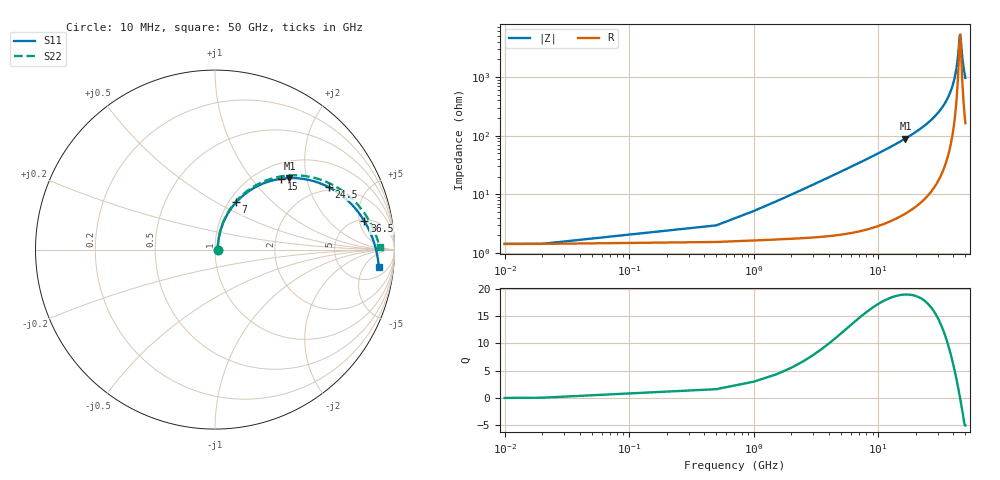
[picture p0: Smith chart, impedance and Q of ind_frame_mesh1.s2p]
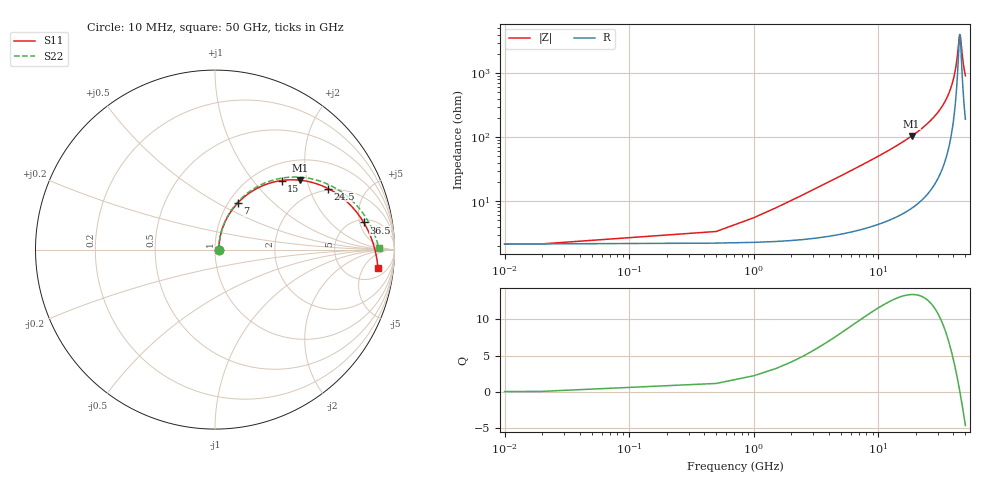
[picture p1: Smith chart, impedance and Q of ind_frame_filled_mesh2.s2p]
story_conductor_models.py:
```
#!/usr/bin/env python
"""Plot and numbers for README.md section "Conductor model": surface impedance (the mesh study above) vs. conductors meshed as
volumes: settings['conductor_model'] = 'solve_inside' and 'solve_inside_skin'.

Writes results/plots/story_conductor_models.png (R and Q vs. frequency) and prints the numbers quoted in README.md.
Reference for all errors: 'solve_inside_skin', 1 um mesh. DOF from the Palace output of each run.
"""
import os
import numpy as np
import matplotlib
matplotlib.use("Agg")
import matplotlib.pyplot as plt

import story_plots as S

RUNS = [  # label, Touchstone file, DOF, color, line style
    ("surface impedance, 1 µm", "ind_frame_mesh1.s2p", 895030, S.BLUE, "-"),
    ("solve_inside, 2 µm", "ind_frame_filled_mesh2.s2p", 519120, S.ORANGE, "--"),
    ("solve_inside_skin, 5 µm", "ind_frame_skin_mesh5.s2p", 400752, S.AQUA, ":"),
    ("solve_inside_skin, 2 µm", "ind_frame_skin_mesh2.s2p", 1066672, S.AQUA, "--"),
    ("solve_inside_skin, 1 µm", "ind_frame_skin_mesh1.s2p", 2418008, S.INK, "-"),
]
TABLE = RUNS + [("solve_inside_skin, 3 µm", "ind_frame_skin_mesh3.s2p", 702498, None, None),
                ("surface impedance, 2 µm", "ind_frame_mesh2.s2p", 442812, None, None),
                ("surface impedance, 5 µm", "ind_frame_mesh5.s2p", 173650, None, None)]
REFERENCE = "ind_frame_skin_mesh1.s2p"


def plot():
    fig, axes = plt.subplots(1, 2, figsize=(10, 3.9), sharex=True)
    for label, fname, _, color, ls in RUNS:
        ntw = S.load(fname)
        m = S.lqr(ntw)
        for ax, key in zip(axes, ("R", "Q")):
            ax.plot(ntw.f / 1e9, m[key], color=color, linestyle=ls, linewidth=2, label=label)
    for ax, title in zip(axes, ("Differential resistance R (Ω)", "Differential Q factor")):
        S.style(ax)
        ax.set_title(title, loc="left", fontsize=11, color=S.INK)
        ax.set_xlabel("Frequency (GHz)", color=S.INK2)
    axes[0].set_ylim(0, 12)
    axes[0].set_xlim(0, 40)
    handles, labels = axes[1].get_legend_handles_labels()
    fig.legend(handles, labels, loc="upper center", ncol=3, frameon=False, fontsize=9)
    fig.tight_layout(rect=(0, 0, 1, 0.84))
    out = os.path.join(S.PLOT_DIR, "story_conductor_models.png")
    fig.savefig(out, dpi=130, facecolor="white")
    plt.close(fig)
    print("wrote", out)


def numbers():
    ref = S.load(REFERENCE)
    r = S.lqr(ref)
    print(f"\n{'model':30s} {'DOF':>10s} {'R@1GHz':>7s} {'dR':>7s} {'L@10GHz':>8s} {'dL':>7s} {'Qpeak':>6s} {'@GHz':>5s} {'dQ':>7s}")
    for label, fname, dof, _, _ in TABLE:
        ntw = S.load(fname)
        m = S.lqr(ntw)
        r1, l10 = S.at(ntw, m["R"], 1e9), S.at(ntw, m["L"], 10e9)
        print(f"{label:30s} {dof:10,d} {r1:7.3f} {100 * (r1 / S.at(ref, r['R'], 1e9) - 1):+6.1f}% "
              f"{l10:8.4f} {100 * (l10 / S.at(ref, r['L'], 10e9) - 1):+6.2f}% "
              f"{m['Q'].max():6.2f} {ntw.f[m['Q'].argmax()] / 1e9:5.1f} {100 * (m['Q'].max() / r['Q'].max() - 1):+6.1f}%")


if __name__ == "__main__":
    plot()
    numbers()
```
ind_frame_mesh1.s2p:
! Created with skrf 2.2.0 (http://scikit-rf.org).
# GHz S DB R 50.0
! Port[1] = P1
! Port[2] = P2
!freq dBS11 angS11 dBS21 angS21 dBS12 angS12 dBS22 angS22
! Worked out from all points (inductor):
!   102 points, 10 MHz to 50 GHz, reference 50 ohm
!   read as 1/Y11, port 2 shorted: L = 779 pH near 1 GHz
!   highest Q = 19 at 16.5 GHz (marker M1), where L = 861 pH
!   self-resonance near 45 GHz
!   S11 on the Smith chart (normalised r, x): 10 MHz: 1.03, +0.00; 7 GHz: 1.08, +0.62; 15 GHz: 1.28, +1.42; 24.5 GHz: 1.87, +2.72; 36.5 GHz: 5.33, +5.97; 50 GHz: 9, -11
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0.01  -36.98 2.0  -0.12 -0.0  -0.12 -0.0  -36.98 2.0
1  -26.64 67.2  -0.15 -3.1  -0.15 -3.1  -26.63 67.3
2  -21.13 73.4  -0.19 -6.0  -0.19 -6.0  -21.13 73.6
4  -15.34 72.5  -0.31 -11.7  -0.31 -11.7  -15.35 72.9
7  -10.78 65.9  -0.59 -20.0  -0.59 -20.0  -10.79 66.7
15  -5.37 47.1  -1.80 -39.5  -1.80 -39.5  -5.38 48.8
16.5  -4.81 43.9  -2.08 -42.7  -2.08 -42.7  -4.82 45.8
24.5  -2.82 28.8  -3.65 -57.6  -3.65 -57.6  -2.83 31.8
25.5  -2.65 27.1  -3.85 -59.2  -3.85 -59.2  -2.67 30.2
36.5  -1.44 10.7  -6.14 -75.1  -6.14 -75.1  -1.45 15.4
50  -0.74 -6.1  -9.06 -91.0  -9.06 -91.0  -0.75 0.8
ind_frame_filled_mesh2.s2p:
! Created with skrf 2.2.0 (http://scikit-rf.org).
# GHz S DB R 50.0
! Port[1] = P1
! Port[2] = P2
!freq dBS11 angS11 dBS21 angS21 dBS12 angS12 dBS22 angS22
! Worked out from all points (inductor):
!   102 points, 10 MHz to 50 GHz, reference 50 ohm
!   read as 1/Y11, port 2 shorted: L = 791 pH near 1.5 GHz
!   highest Q = 13.5 at 18.5 GHz (marker M1), where L = 893 pH
!   self-resonance near 45 GHz
!   S11 on the Smith chart (normalised r, x): 10 MHz: 1.04, +0.00; 7 GHz: 1.11, +0.63; 15 GHz: 1.31, +1.41; 24.5 GHz: 1.94, +2.70; 36.5 GHz: 5.55, +5.78; 50 GHz: 9, -11
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0.01  -33.56 1.2  -0.18 -0.0  -0.18 -0.0  -33.56 1.3
1.5  -23.15 66.9  -0.23 -4.6  -0.23 -4.6  -23.15 67.1
2.5  -19.05 70.5  -0.28 -7.6  -0.28 -7.6  -19.06 70.8
4.5  -14.26 69.0  -0.43 -13.3  -0.43 -13.3  -14.26 69.5
7  -10.77 63.9  -0.69 -20.1  -0.69 -20.1  -10.78 64.7
15  -5.45 46.1  -1.89 -39.2  -1.89 -39.2  -5.46 47.9
18.5  -4.25 39.0  -2.54 -46.3  -2.54 -46.3  -4.26 41.3
24.5  -2.89 28.3  -3.72 -57.1  -3.72 -57.1  -2.91 31.3
25.5  -2.73 26.6  -3.92 -58.8  -3.92 -58.8  -2.74 29.8
36.5  -1.49 10.4  -6.19 -74.7  -6.19 -74.7  -1.50 15.1
50  -0.79 -6.5  -9.12 -90.6  -9.12 -90.6  -0.79 0.5
